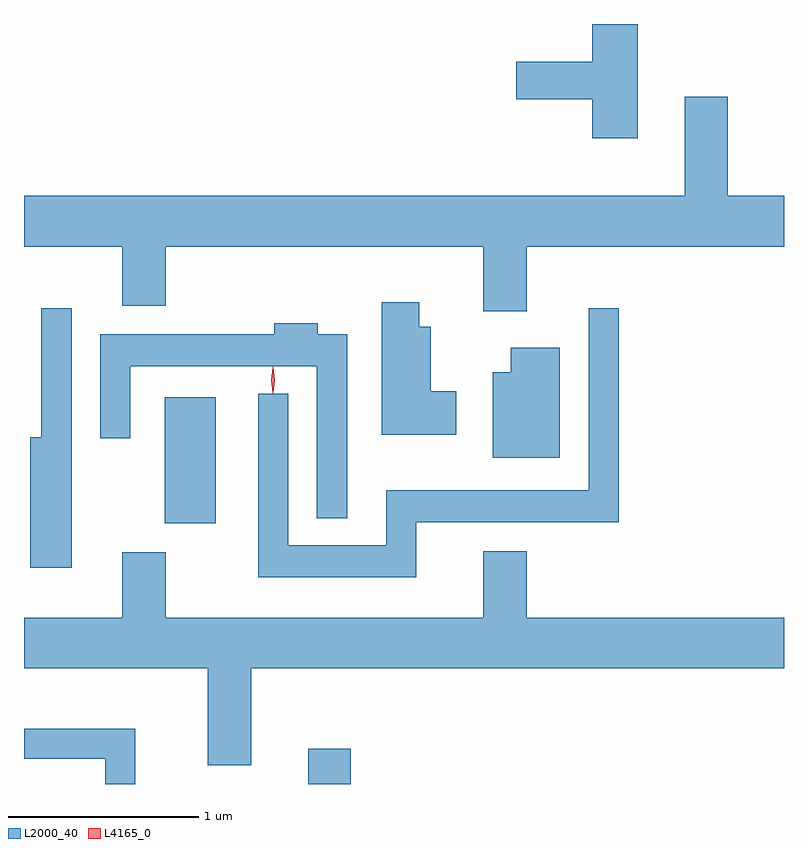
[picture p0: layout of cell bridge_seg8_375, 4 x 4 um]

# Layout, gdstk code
import gdstk
lib = gdstk.Library(unit=1e-6, precision=1e-09)
def R(c, l, rs):  # rectangles x0, y0, x1, y1
    for r in rs: c.add(gdstk.rectangle(r[:2], r[2:], *l))
def P(c, l, *ps):  # polygons
    for p in ps: c.add(gdstk.Polygon(p, *l))
L2000_40 = (2000, 40)
L4165_0 = (4165, 0)

bridge_seg8_375 = lib.new_cell('bridge_seg8_375')
R(bridge_seg8_375, L2000_40, [(684.071,1895.748,684.294,1895.934), (683.316,1897.121,683.584,1897.784)])
P(bridge_seg8_375, L2000_40, [(685.804,1899.748),(685.566,1899.748),(685.566,1899.549),(685.166,1899.549),(685.166,1899.351),(685.566,1899.351),(685.566,1899.146),(685.804,1899.146)],
  [(685.219,1898.576),(686.574,1898.576),(686.574,1898.844),(686.279,1898.844),(686.279,1899.364),(686.051,1899.364),(686.051,1898.844),(682.574,1898.844),(682.574,1898.576),(683.091,1898.576),(683.091,1898.266),(683.319,1898.266),(683.319,1898.576),(684.991,1898.576),(684.991,1898.236),(685.219,1898.236)],
  [(684.849,1897.814),(684.714,1897.814),(684.714,1898.154),(684.654,1898.154),(684.654,1898.284),(684.456,1898.284),(684.456,1897.586),(684.849,1897.586)],
  [(684.639,1897.126),(685.704,1897.126),(685.704,1898.253),(685.546,1898.253),(685.546,1897.294),(684.481,1897.294),(684.481,1897.004),(683.964,1897.004),(683.964,1897.803),(683.806,1897.803),(683.806,1896.836),(684.639,1896.836)],
  [(682.824,1898.253),(682.666,1898.253),(682.666,1897.574),(682.606,1897.574),(682.606,1896.886),(682.824,1896.886)],
  [(684.274,1898.114),(684.119,1898.114),(684.119,1898.174),(683.891,1898.174),(683.891,1898.114),(682.976,1898.114),(682.976,1897.568),(683.134,1897.568),(683.134,1897.946),(684.116,1897.946),(684.116,1897.148),(684.274,1897.148)],
  [(685.394,1898.044),(685.136,1898.044),(685.136,1897.914),(685.041,1897.914),(685.041,1897.466),(685.394,1897.466)],
  [(683.769,1896.356),(686.574,1896.356),(686.574,1896.624),(685.219,1896.624),(685.219,1896.974),(684.991,1896.974),(684.991,1896.624),(683.319,1896.624),(683.319,1896.969),(683.091,1896.969),(683.091,1896.624),(682.574,1896.624),(682.574,1896.356),(683.541,1896.356),(683.541,1895.846),(683.769,1895.846)],
  [(683.159,1896.039),(682.574,1896.039),(682.574,1895.881),(683.001,1895.881),(683.001,1895.748),(683.159,1895.748)])
P(bridge_seg8_375, L4165_0, [(683.885,1897.807),(683.884,1897.808),(683.875,1897.874),(683.884,1897.94),(683.885,1897.94),(683.885,1897.94),(683.895,1897.874),(683.885,1897.808)],
  [(683.884,1897.804),(683.884,1897.804),(683.874,1897.874),(683.884,1897.942),(683.884,1897.943),(683.885,1897.942),(683.894,1897.874),(683.885,1897.804)])

lib.write_gds('bridge_seg8_375.gds')
